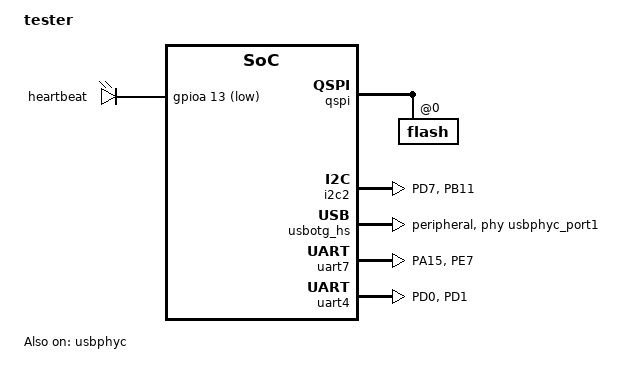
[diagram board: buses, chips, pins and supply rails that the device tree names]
/dts-v1/;

#include "lump1a.dtsi"

/ {
	model = "tester";

	aliases {
		serial0 = &usart1;
	};

	co-boot {
		compatible = "eax,tester,a";
		boot-flags = <0>;
		enter-shell = <0>;
		linux-img-start = <0x100000>;
	};

	chosen {
		stdout-path = "serial0:115200n8";
		bootargs = "loglevel=3 clk_ignore_unused earlyprintk console=ttySTM0,115200n8 debug_boot_weak_hash ubi.mtd=4 ubi.block=0,rfs rdinit=/etc/initrc";
	};

	reserved-memory {
		#address-cells = <1>;
		#size-cells = <1>;
		ranges;

		retram: retram@0x38000000 {
			compatible = "shared-dma-pool";
			reg = <0x38000000 0x10000>;
			no-map;
		};

		mcuram: mcuram@0x30000000 {
			compatible = "shared-dma-pool";
			reg = <0x30000000 0x40000>;
			no-map;
		};

		mcuram2: mcuram2@0x10000000 {
			compatible = "shared-dma-pool";
			reg = <0x10000000 0x40000>;
			no-map;
		};

		vdev0vring0: vdev0vring0@10040000 {
			compatible = "shared-dma-pool";
			reg = <0x10040000 0x2000>;
			no-map;
		};

		vdev0vring1: vdev0vring1@10042000 {
			compatible = "shared-dma-pool";
			reg = <0x10042000 0x2000>;
			no-map;
		};

		vdev0buffer: vdev0buffer@10044000 {
			compatible = "shared-dma-pool";
			reg = <0x10044000 0x4000>;
			no-map;
		};
		fb_reserved: fb@c7000000 {
			reg = <0xc7000000 0x100000>;
			no-map;
		};

		gpu_reserved: gpu@d4000000 {
			reg = <0xd4000000 0x1000000>;
			no-map;
		};
	};

	sram: sram@10050000 {
		compatible = "mmio-sram";
		reg = <0x10050000 0x10000>;
		#address-cells = <1>;
		#size-cells = <1>;
		ranges = <0 0x10050000 0x10000>;

		dma_pool: dma_pool@0 {
			reg = <0x0 0x10000>;
			pool;
		};
	};

	led {
		compatible = "gpio-leds";
		green {
			label = "heartbeat";
			gpios = <&gpioa 13 GPIO_ACTIVE_LOW>;
			linux,default-trigger = "heartbeat";
			default-state = "off";
		};
	};

	usb_phy_tuning: usb-phy-tuning {
		st,hs-dc-level = <2>;
		st,fs-rftime-tuning;
		st,hs-rftime-reduction;
		st,hs-current-trim = <15>;
		st,hs-impedance-trim = <1>;
		st,squelch-level = <3>;
		st,hs-rx-offset = <2>;
		st,no-lsfs-sc;
	};

	m4@0 {
		/delete-node/m4_system_resources;
	};
};

&qspi {
	flash@0 {
//		compatible = "jedec,spi-nor";
	};
};

&pinctrl {
	uart4_pins_c: uart4c-0 {
		pins1 {
			pinmux = <STM32_PINMUX('D', 0, AF8)>; /* TX */
			bias-disable;
			drive-push-pull;
			slew-rate = <0>;
		};
		pins2 {
			pinmux = <STM32_PINMUX('D', 1, AF8)>; /* RX */
			bias-disable;
		};
	};
	uart7_pins_b: uart7b-0 {
		pins1 {
			pinmux = <STM32_PINMUX('A', 15, AF13)>; /* TX */
			bias-disable;
			drive-push-pull;
			slew-rate = <0>;
		};
		pins2 {
			pinmux = <STM32_PINMUX('E', 7, AF7)>; /* RX */
			bias-disable;
		};
	};
	spi2_pins_a: spi2-0 {
		pins1 {
			pinmux = <STM32_PINMUX('D', 3, AF5)>, /* SPI2_SCK */
				 <STM32_PINMUX('B', 15, AF5)>; /* SPI2_MOSI */

			bias-disable;
			drive-push-pull;
			slew-rate = <1>;
		};

		pins2 {
			pinmux = <STM32_PINMUX('B', 14, AF5)>; /* SPI2_MISO */
			bias-disable;
		};
	};

	ethernet0_rmii_pins_a: rmii-0 {
		pins1 {
			pinmux = <STM32_PINMUX('G', 8, AF2)>, /* ETH_RMII_CLK */
				 <STM32_PINMUX('G', 13, AF11)>, /* ETH_RMII_TXD0 */
				 <STM32_PINMUX('B', 13, AF11)>, /* ETH_RMII_TXD1 */
				 <STM32_PINMUX('G', 11, AF11)>; /* ETH_RMII_TX_CTL */
			bias-disable;
			drive-push-pull;
			slew-rate = <2>;
		};
		pins3 {
			pinmux = <STM32_PINMUX('C', 4, AF11)>, /* ETH_RMII_RXD0 */
				 <STM32_PINMUX('C', 5, AF11)>, /* ETH_RMII_RXD1 */
				 <STM32_PINMUX('A', 1, AF11)>, /* ETH_RMII_RX_CLK */
				 <STM32_PINMUX('A', 7, AF11)>; /* ETH_RMII_RX_CTL */
			bias-disable;
		};
		/*
		pins4 {
			pinmux = <STM32_PINMUX('G', 7, AF11)>; // ETH_RST 
			bias-disable;
			drive-push-pull;
			slew-rate = <0>;
		};*/
	};
	ethernet0_rgmii_pins_b: rgmii-1 {
		pins1 {
			pinmux = 
			 <STM32_PINMUX('G', 4, AF11)>, /* ETH_RGMII_GTX_CLK */
			 <STM32_PINMUX('B', 12, AF11)>, /* ETH_RMII_TXD0 */
			 <STM32_PINMUX('B', 13, AF11)>, /* ETH_RMII_TXD1 */
			 <STM32_PINMUX('C',  2, AF11)>, /* ETH_RMII_TXD2 */
			 <STM32_PINMUX('E',  2, AF11)>, /* ETH_RMII_TXD3 */
			 <STM32_PINMUX('G', 11, AF11)>; /* ETH_RMII_TX_CTL */
			drive-push-pull;
			slew-rate = <2>;
		};
		pins2 {
			pinmux = <STM32_PINMUX('C', 4, AF11)>, /* ETH_RXD0 */
			 <STM32_PINMUX('C', 5, AF11)>, /* ETH_RMII_RXD1 */
			 <STM32_PINMUX('H', 6, AF11)>, /* ETH_RMII_RXD2 */
			 <STM32_PINMUX('H', 7, AF11)>, /* ETH_RMII_RXD3 */
			 <STM32_PINMUX('A', 1, AF11)>, /* ETH_RMII_RX_CLK */
			 <STM32_PINMUX('A', 7, AF11)>; /* ETH_RMII_RX_CTL */
			bias-disable;
		};
	};
	i2c2_pins_b: i2c2-1 {
		pins {
			pinmux = <STM32_PINMUX('D', 7, AF4)>, /* I2C2_SCL */
				 <STM32_PINMUX('B',11, AF4)>; /* I2C2_SDA */
			bias-disable;
			drive-open-drain;
			slew-rate = <0>;
		};
	};
};

&i2c2 {
	pinctrl-names = "default";
	pinctrl-0 = <&i2c2_pins_b>;
	i2c-scl-rising-time-ns = <185>;
	i2c-scl-falling-time-ns = <20>;
	//status = "okay";
	/delete-property/dmas;
	/delete-property/dma-names;

};

&usbotg_hs {
//	pinctrl-names = "default";
//	pinctrl-0 = <&usbotg_hs_pins_a>;
	phys = <&usbphyc_port1 0>;
	phy-names = "usb2-phy";
	dr_mode = "peripheral";
	status = "okay";
};

&usbphyc {
	status = "okay";
};

&usbphyc_port1 {
	st,phy-tuning = <&usb_phy_tuning>;
};

&uart7 {
	pinctrl-names = "default";
	pinctrl-0 = <&uart7_pins_b>;
//	status = "okay";
};

&uart4 {
	pinctrl-names = "default";
	pinctrl-0 = <&uart4_pins_c>;
	st,swap;
	rx-tx-swap;
//	status = "okay";
};
